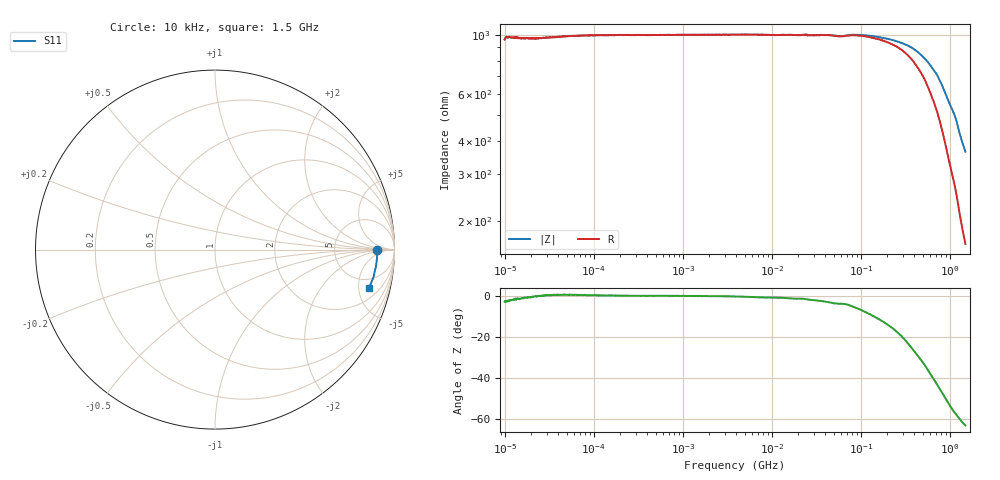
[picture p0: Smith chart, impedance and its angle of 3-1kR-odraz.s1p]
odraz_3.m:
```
clear all
close all
clc

%% Load data
sparam = sparameters('mereni/3-1kR-odraz.s1p');

Z0 = sparam.Impedance;
s11 = reshape(sparam.Parameters, [],1);
f=sparam.Frequencies;

zparam = s2z(s11, Z0);



ZL = Z0*((1+s11)./(1-s11));

%% Fit
Cx = 1.5e-13;
Rx = 1e3;
Rcs = 0.5e3;

ZL_fit = 1 ./ (1./Rx + 1./(1./(1i * 2 * pi() * Cx * f) + Rcs));

s11_estim = (ZL_fit-Z0)./(ZL_fit+Z0);

sparam_fit = sparameters(s11_estim, f, Z0);

%% Plot
fig = figure('Name','Impedance','NumberTitle','off');
loglog(f/1e9,abs(ZL)/1e3,  'r', f/1e9,abs(ZL_fit)/1e3,'b')
legend('ZNB','Model','Location', 'Best')
xlabel('f [GHz]'), ylabel('|Z| [k\Omega]')
grid on
saveas(fig, 'res/3.png')
```
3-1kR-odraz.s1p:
#  HZ  S  DB  R  50.00
! Rohde & Schwarz Vector Network Analyzer
! Rohde-Schwarz,ZNB8-4Port,1334333044101560,3.32
! Created: UTC 3/21/2023, 5:11:47 PM
! freq[Hz]  db:S11  ang:S11
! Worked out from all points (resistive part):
!   1001 points, 10 kHz to 1.5 GHz, reference 50 ohm
!   read as one part to ground: R = 980 ohm at 10.61 kHz
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10000  -0.90 -0.3
37544.48  -0.89 0.1
535567.8  -0.87 0.0
2.834346e7  -0.87 -0.2
7.267149e7  -0.87 -0.4
1.558238e8  -0.87 -1.1
2.728414e8  -0.88 -2.0
4.342879e8  -0.88 -3.2
6.209555e8  -0.89 -4.7
8.167904e8  -0.91 -6.5
1.126847e9  -0.94 -9.6
1.21038e9  -0.97 -10.5
1.413223e9  -1.04 -13.1
1.5e9  -1.06 -14.1
